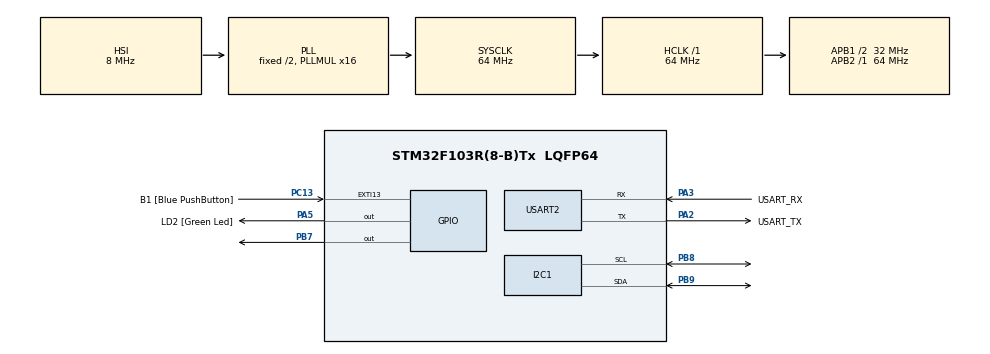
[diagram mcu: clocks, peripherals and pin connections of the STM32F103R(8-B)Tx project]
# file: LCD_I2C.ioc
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Mcu.Family=STM32F1
Mcu.Name=STM32F103R(8-B)Tx
Mcu.Package=LQFP64
NVIC.EXTI15_10_IRQn=true\:1\:0\:true\:false\:true\:true\:true\:true
NVIC.PriorityGroup=NVIC_PRIORITYGROUP_4
PA13.GPIO_Label=TMS
PA13.Mode=Serial_Wire
PA13.Signal=SYS_JTMS-SWDIO
PA14.GPIO_Label=TCK
PA14.Mode=Serial_Wire
PA14.Signal=SYS_JTCK-SWCLK
PA2.GPIO_Label=USART_TX
PA2.GPIO_Mode=GPIO_MODE_AF_PP
PA2.GPIO_PuPd=GPIO_NOPULL
PA2.GPIO_Speed=GPIO_SPEED_FREQ_LOW
PA2.Mode=Asynchronous
PA2.Signal=USART2_TX
PA3.GPIO_Label=USART_RX
PA3.GPIO_Mode=GPIO_MODE_AF_PP
PA3.GPIO_PuPd=GPIO_NOPULL
PA3.GPIO_Speed=GPIO_SPEED_FREQ_LOW
PA3.Mode=Asynchronous
PA3.Signal=USART2_RX
PA5.GPIO_Label=LD2 [Green Led]
PA5.GPIO_ModeDefaultOutputPP=GPIO_MODE_OUTPUT_PP
PA5.GPIO_PuPd=GPIO_NOPULL
PA5.GPIO_Speed=GPIO_SPEED_FREQ_LOW
PA5.Signal=GPIO_Output
PB3.GPIO_Label=SWO
PB3.Signal=SYS_JTDO-TRACESWO
PB7.Signal=GPIO_Output
PB8.Mode=I2C
PB8.Signal=I2C1_SCL
PB9.Mode=I2C
PB9.Signal=I2C1_SDA
PC13-TAMPER-RTC.GPIO_Label=B1 [Blue PushButton]
PC13-TAMPER-RTC.GPIO_PuPd=GPIO_PULLDOWN
PC13-TAMPER-RTC.Signal=GPXTI13
PC14-OSC32_IN.Mode=LSE-External-Oscillator
PC14-OSC32_IN.Signal=RCC_OSC32_IN
PC15-OSC32_OUT.Mode=LSE-External-Oscillator
PC15-OSC32_OUT.Signal=RCC_OSC32_OUT
PD0-OSC_IN.Mode=HSE-External-Clock-Source
PD0-OSC_IN.Signal=RCC_OSC_IN
PD1-OSC_OUT.Mode=HSE-External-Clock-Source
PD1-OSC_OUT.Signal=RCC_OSC_OUT
ProjectManager.HeapSize=0x200
ProjectManager.StackSize=0x400
ProjectManager.TargetToolchain=STM32CubeIDE
RCC.AHBFreq_Value=64000000
RCC.APB1CLKDivider=RCC_HCLK_DIV2
RCC.APB1Freq_Value=32000000
RCC.APB1TimFreq_Value=64000000
RCC.APB2Freq_Value=64000000
RCC.APB2TimFreq_Value=64000000
RCC.HCLKFreq_Value=64000000
RCC.PLLMUL=RCC_PLL_MUL16
RCC.RTCClockSelection=RCC_RTCCLKSOURCE_LSE
RCC.SYSCLKFreq_VALUE=64000000
RCC.SYSCLKSource=RCC_SYSCLKSOURCE_PLLCLK
RCC.USBFreq_Value=64000000
USART2.VirtualMode=VM_ASYNC
board=NUCLEO-F103RB

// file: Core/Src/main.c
/* USER CODE BEGIN Header */
/**
  ******************************************************************************
  * @file           : main.c
  * @brief          : Main program body
  ******************************************************************************
  * @attention
  *
  * Copyright (c) 2025 STMicroelectronics.
  * All rights reserved.
  *
  * This software is licensed under terms that can be found in the LICENSE file
  * in the root directory of this software component.
  * If no LICENSE file comes with this software, it is provided AS-IS.
  *
  ******************************************************************************
  */
/* USER CODE END Header */
#include "main.h"

/* USER CODE BEGIN Includes */
#include "logger.h"

#include "../../Librerias Tuto/I2C_LCD.h"
#include "../../Librerias Tuto/I2C_LCD_cfg.h"
#include "../../Librerias Tuto/Util.h"
/* USER CODE END Includes */

/* USER CODE BEGIN PM */
#define MyI2C_LCD I2C_LCD_1
/* USER CODE END PM */

I2C_HandleTypeDef hi2c1;

UART_HandleTypeDef huart2;

void SystemClock_Config(void);
static void MX_GPIO_Init(void);
static void MX_USART2_UART_Init(void);
static void MX_I2C1_Init(void);

int main(void)
{

  /* MCU Configuration--------------------------------------------------------*/

  /* Reset of all peripherals, Initializes the Flash interface and the Systick. */
  HAL_Init();

  /* Configure the system clock */
  SystemClock_Config();

  /* Initialize all configured peripherals */
  MX_GPIO_Init();
  MX_USART2_UART_Init();
  MX_I2C1_Init();
  /* USER CODE BEGIN 2 */

  I2C_LCD_Init(MyI2C_LCD);
  I2C_LCD_SetCursor(MyI2C_LCD, 0, 0);
  I2C_LCD_WriteString(MyI2C_LCD, "DeepBlueMbedded");
  I2C_LCD_SetCursor(MyI2C_LCD, 0, 1);
  I2C_LCD_WriteString(MyI2C_LCD, "I2C LCD ");
  HAL_Delay(1000);
  I2C_LCD_Clear(MyI2C_LCD);
  I2C_LCD_SetCursor(MyI2C_LCD, 0, 0);
  /* USER CODE END 2 */

  /* Infinite loop */
  /* USER CODE BEGIN WHILE */
  char caracter = 'A';
  while (1)
  {

	  caracter = 'A';
	  I2C_LCD_Clear(MyI2C_LCD);
	  I2C_LCD_SetCursor(MyI2C_LCD, 0, 0);
	  //I2C_LCD_Cursor(MyI2C_LCD);
	  I2C_LCD_Blink(MyI2C_LCD);
	  for(int i = 0; i < 8; i++){
		  I2C_LCD_WriteChar(MyI2C_LCD, caracter);
		  HAL_Delay(250);
		  caracter++;
	  }

	  caracter = 'A';
	  I2C_LCD_SetCursor(MyI2C_LCD, 0, 1);
	  //I2C_LCD_NoCursor(MyI2C_LCD);
	  I2C_LCD_NoBlink(MyI2C_LCD);
	  for(int i = 0; i < 8; i++){
		  I2C_LCD_WriteChar(MyI2C_LCD, caracter);
		  HAL_Delay(250);
		  caracter++;
	  }
	  /*
	  I2C_LCD_NoBacklight(MyI2C_LCD);
	  HAL_Delay(1000);
	  I2C_LCD_Backlight(MyI2C_LCD);
	  HAL_Delay(1000);

	  I2C_LCD_Clear(MyI2C_LCD);
	  I2C_LCD_SetCursor(MyI2C_LCD, 0, 1);
	  //I2C_LCD_WriteChar(MyI2C_LCD, 'Ñ');//¿Qué pasa si pongo una Ñ?
	  //Me retó gdb porque Ñ es más de un char, como si fuera un string
	  I2C_LCD_WriteString(MyI2C_LCD, "Hola Ñ");
	  HAL_Delay(1000);

	  I2C_LCD_Clear(MyI2C_LCD);
	  I2C_LCD_SetCursor(MyI2C_LCD, 0, 0);
	  I2C_LCD_WriteString(MyI2C_LCD, "HOLA");
	  HAL_Delay(500);
	  for(int i = 0; i <14; i++){
		  I2C_LCD_ShiftRight(MyI2C_LCD);
		  HAL_Delay(500);
	  }

	  for(int i = 0; i <14; i++){
		  I2C_LCD_ShiftLeft(MyI2C_LCD);
		  HAL_Delay(500);
	  }

	  for(int i = 0; i <12; i++){
		  I2C_LCD_ShiftRight(MyI2C_LCD);
		  HAL_Delay(250);
	  }
	  I2C_LCD_Home(MyI2C_LCD);//¿Qué hace esta función?-->devuelve todo a la posición original
	  HAL_Delay(1000);
	*/
	  /*
	  I2C_LCD_Clear(MyI2C_LCD);
	  I2C_LCD_SetCursor(MyI2C_LCD, 0, 0);
	  I2C_LCD_WriteString(MyI2C_LCD, "Hola mundo");
	  HAL_Delay(1000);
	  I2C_LCD_NoDisplay(MyI2C_LCD);
	  HAL_Delay(1000);
	  I2C_LCD_Display(MyI2C_LCD);
	  HAL_Delay(1000);

	  I2C_LCD_Blink(MyI2C_LCD);
	  HAL_Delay(1000);

	  I2C_LCD_SetCursor(MyI2C_LCD, 7, 0);
	  HAL_Delay(1000);

	  I2C_LCD_NoBlink(MyI2C_LCD);
	  HAL_Delay(1000);
	  */
    /* USER CODE END WHILE */

  }
}

void SystemClock_Config(void)
{
  RCC_OscInitTypeDef RCC_OscInitStruct = {0};
  RCC_ClkInitTypeDef RCC_ClkInitStruct = {0};

  /** Initializes the RCC Oscillators according to the specified parameters
  * in the RCC_OscInitTypeDef structure.
  */
  RCC_OscInitStruct.OscillatorType = RCC_OSCILLATORTYPE_HSI;
  RCC_OscInitStruct.HSIState = RCC_HSI_ON;
  RCC_OscInitStruct.HSICalibrationValue = RCC_HSICALIBRATION_DEFAULT;
  RCC_OscInitStruct.PLL.PLLState = RCC_PLL_ON;
  RCC_OscInitStruct.PLL.PLLSource = RCC_PLLSOURCE_HSI_DIV2;
  RCC_OscInitStruct.PLL.PLLMUL = RCC_PLL_MUL16;
  if (HAL_RCC_OscConfig(&RCC_OscInitStruct) != HAL_OK)
  {
    Error_Handler();
  }

  /** Initializes the CPU, AHB and APB buses clocks
  */
  RCC_ClkInitStruct.ClockType = RCC_CLOCKTYPE_HCLK|RCC_CLOCKTYPE_SYSCLK
                              |RCC_CLOCKTYPE_PCLK1|RCC_CLOCKTYPE_PCLK2;
  RCC_ClkInitStruct.SYSCLKSource = RCC_SYSCLKSOURCE_PLLCLK;
  RCC_ClkInitStruct.AHBCLKDivider = RCC_SYSCLK_DIV1;
  RCC_ClkInitStruct.APB1CLKDivider = RCC_HCLK_DIV2;
  RCC_ClkInitStruct.APB2CLKDivider = RCC_HCLK_DIV1;

  if (HAL_RCC_ClockConfig(&RCC_ClkInitStruct, FLASH_LATENCY_2) != HAL_OK)
  {
    Error_Handler();
  }
}

static void MX_I2C1_Init(void)
{

  hi2c1.Instance = I2C1;
  hi2c1.Init.ClockSpeed = 100000;
  hi2c1.Init.DutyCycle = I2C_DUTYCYCLE_2;
  hi2c1.Init.OwnAddress1 = 0;
  hi2c1.Init.AddressingMode = I2C_ADDRESSINGMODE_7BIT;
  hi2c1.Init.DualAddressMode = I2C_DUALADDRESS_DISABLE;
  hi2c1.Init.OwnAddress2 = 0;
  hi2c1.Init.GeneralCallMode = I2C_GENERALCALL_DISABLE;
  hi2c1.Init.NoStretchMode = I2C_NOSTRETCH_DISABLE;
  if (HAL_I2C_Init(&hi2c1) != HAL_OK)
  {
    Error_Handler();
  }

}

static void MX_USART2_UART_Init(void)
{

  huart2.Instance = USART2;
  huart2.Init.BaudRate = 115200;
  huart2.Init.WordLength = UART_WORDLENGTH_8B;
  huart2.Init.StopBits = UART_STOPBITS_1;
  huart2.Init.Parity = UART_PARITY_NONE;
  huart2.Init.Mode = UART_MODE_TX_RX;
  huart2.Init.HwFlowCtl = UART_HWCONTROL_NONE;
  huart2.Init.OverSampling = UART_OVERSAMPLING_16;
  if (HAL_UART_Init(&huart2) != HAL_OK)
  {
    Error_Handler();
  }

}

static void MX_GPIO_Init(void)
{
  GPIO_InitTypeDef GPIO_InitStruct = {0};

  /* GPIO Ports Clock Enable */
  __HAL_RCC_GPIOC_CLK_ENABLE();
  __HAL_RCC_GPIOD_CLK_ENABLE();
  __HAL_RCC_GPIOA_CLK_ENABLE();
  __HAL_RCC_GPIOB_CLK_ENABLE();

  /*Configure GPIO pin Output Level */
  HAL_GPIO_WritePin(LD2_GPIO_Port, LD2_Pin, GPIO_PIN_RESET);

  /*Configure GPIO pin Output Level */
  HAL_GPIO_WritePin(GPIOB, GPIO_PIN_7, GPIO_PIN_RESET);

  /*Configure GPIO pin : B1_Pin */
  GPIO_InitStruct.Pin = B1_Pin;
  GPIO_InitStruct.Mode = GPIO_MODE_IT_RISING;
  GPIO_InitStruct.Pull = GPIO_PULLDOWN;
  HAL_GPIO_Init(B1_GPIO_Port, &GPIO_InitStruct);

  /*Configure GPIO pin : LD2_Pin */
  GPIO_InitStruct.Pin = LD2_Pin;
  GPIO_InitStruct.Mode = GPIO_MODE_OUTPUT_PP;
  GPIO_InitStruct.Pull = GPIO_NOPULL;
  GPIO_InitStruct.Speed = GPIO_SPEED_FREQ_LOW;
  HAL_GPIO_Init(LD2_GPIO_Port, &GPIO_InitStruct);

  /*Configure GPIO pin : PB7 */
  GPIO_InitStruct.Pin = GPIO_PIN_7;
  GPIO_InitStruct.Mode = GPIO_MODE_OUTPUT_PP;
  GPIO_InitStruct.Pull = GPIO_NOPULL;
  GPIO_InitStruct.Speed = GPIO_SPEED_FREQ_LOW;
  HAL_GPIO_Init(GPIOB, &GPIO_InitStruct);

  /* EXTI interrupt init*/
  HAL_NVIC_SetPriority(EXTI15_10_IRQn, 1, 0);
  HAL_NVIC_EnableIRQ(EXTI15_10_IRQn);

}

void Error_Handler(void)
{
  __disable_irq();
  while (1)
  {
  }
}
